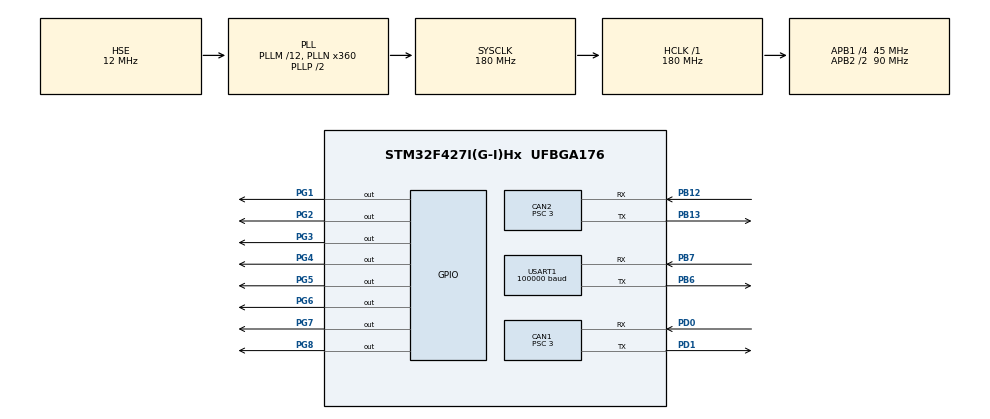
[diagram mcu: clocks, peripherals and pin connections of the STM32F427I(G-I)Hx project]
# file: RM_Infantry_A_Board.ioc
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CAN1.ABOM=ENABLE
CAN1.BS1=CAN_BS1_12TQ
CAN1.BS2=CAN_BS2_2TQ
CAN1.CalculateBaudRate=1000000
CAN1.CalculateTimeBit=1000
CAN1.CalculateTimeQuantum=66.66666666666666
CAN1.NART=ENABLE
CAN1.Prescaler=3
CAN2.BS1=CAN_BS1_12TQ
CAN2.BS2=CAN_BS2_2TQ
CAN2.CalculateBaudRate=1000000
CAN2.CalculateTimeBit=1000
CAN2.CalculateTimeQuantum=66.66666666666666
CAN2.Prescaler=3
Dma.Request0=USART1_RX
Dma.USART1_RX.0.Direction=DMA_PERIPH_TO_MEMORY
Dma.USART1_RX.0.FIFOMode=DMA_FIFOMODE_DISABLE
Dma.USART1_RX.0.Instance=DMA2_Stream2
Dma.USART1_RX.0.MemDataAlignment=DMA_MDATAALIGN_BYTE
Dma.USART1_RX.0.MemInc=DMA_MINC_ENABLE
Dma.USART1_RX.0.Mode=DMA_CIRCULAR
Dma.USART1_RX.0.PeriphDataAlignment=DMA_PDATAALIGN_BYTE
Dma.USART1_RX.0.PeriphInc=DMA_PINC_DISABLE
Dma.USART1_RX.0.Priority=DMA_PRIORITY_LOW
FREERTOS.Queues01=remoteQueue,5,32,1,Dynamic,NULL,NULL
FREERTOS.Tasks01=defaultTask,24,128,StartDefaultTask,Default,NULL,Dynamic,NULL,NULL;Chassis_Task,24,512,StartChassisTask,As external,NULL,Dynamic,NULL,NULL;Detect_Task,8,256,StartDetectTask,As external,NULL,Dynamic,NULL,NULL
Mcu.Family=STM32F4
Mcu.Name=STM32F427I(G-I)Hx
Mcu.Package=UFBGA176
NVIC.CAN1_RX0_IRQn=true\:5\:0\:false\:false\:true\:true\:true\:true\:true
NVIC.CAN1_RX1_IRQn=true\:5\:0\:false\:false\:true\:true\:true\:true\:true
NVIC.CAN2_RX0_IRQn=true\:5\:0\:false\:false\:true\:true\:true\:true\:true
NVIC.CAN2_RX1_IRQn=true\:5\:0\:false\:false\:true\:true\:true\:true\:true
NVIC.DMA2_Stream2_IRQn=true\:5\:0\:false\:false\:true\:true\:false\:true\:true
NVIC.PriorityGroup=NVIC_PRIORITYGROUP_4
NVIC.TIM6_DAC_IRQn=true\:15\:0\:false\:false\:true\:false\:false\:true\:true
NVIC.TimeBase=TIM6_DAC_IRQn
NVIC.TimeBaseIP=TIM6
NVIC.USART1_IRQn=true\:5\:0\:false\:false\:true\:true\:true\:true\:true
PA13.Mode=Serial_Wire
PA13.Signal=SYS_JTMS-SWDIO
PA14.Mode=Serial_Wire
PA14.Signal=SYS_JTCK-SWCLK
PB12.Mode=CAN_Activate
PB12.Signal=CAN2_RX
PB13.Mode=CAN_Activate
PB13.Signal=CAN2_TX
PB6.Mode=Asynchronous
PB6.Signal=USART1_TX
PB7.Mode=Asynchronous
PB7.Signal=USART1_RX
PD0.Mode=CAN_Activate
PD0.Signal=CAN1_RX
PD1.Mode=CAN_Activate
PD1.Signal=CAN1_TX
PG1.GPIO_PuPd=GPIO_PULLDOWN
PG1.PinState=GPIO_PIN_SET
PG1.Signal=GPIO_Output
PG2.GPIO_PuPd=GPIO_PULLDOWN
PG2.PinState=GPIO_PIN_SET
PG2.Signal=GPIO_Output
PG3.GPIO_PuPd=GPIO_PULLDOWN
PG3.PinState=GPIO_PIN_SET
PG3.Signal=GPIO_Output
PG4.GPIO_PuPd=GPIO_PULLDOWN
PG4.PinState=GPIO_PIN_SET
PG4.Signal=GPIO_Output
PG5.GPIO_PuPd=GPIO_PULLDOWN
PG5.PinState=GPIO_PIN_SET
PG5.Signal=GPIO_Output
PG6.GPIO_PuPd=GPIO_PULLDOWN
PG6.PinState=GPIO_PIN_SET
PG6.Signal=GPIO_Output
PG7.GPIO_PuPd=GPIO_PULLDOWN
PG7.PinState=GPIO_PIN_SET
PG7.Signal=GPIO_Output
PG8.GPIO_PuPd=GPIO_PULLDOWN
PG8.PinState=GPIO_PIN_SET
PG8.Signal=GPIO_Output
PH0/OSC_IN.Mode=HSE-External-Oscillator
PH0/OSC_IN.Signal=RCC_OSC_IN
PH1/OSC_OUT.Mode=HSE-External-Oscillator
PH1/OSC_OUT.Signal=RCC_OSC_OUT
ProjectManager.HeapSize=0x200
ProjectManager.StackSize=0x400
ProjectManager.TargetToolchain=MDK-ARM V5.32
RCC.48MHZClocksFreq_Value=90000000
RCC.AHBFreq_Value=180000000
RCC.APB1CLKDivider=RCC_HCLK_DIV4
RCC.APB1Freq_Value=45000000
RCC.APB1TimFreq_Value=90000000
RCC.APB2CLKDivider=RCC_HCLK_DIV2
RCC.APB2Freq_Value=90000000
RCC.APB2TimFreq_Value=180000000
RCC.CortexFreq_Value=180000000
RCC.HCLKFreq_Value=180000000
RCC.HSE_VALUE=12000000
RCC.HSI_VALUE=16000000
RCC.LSE_VALUE=32768
RCC.PLLM=12
RCC.PLLN=360
RCC.PLLSourceVirtual=RCC_PLLSOURCE_HSE
RCC.SYSCLKFreq_VALUE=180000000
RCC.SYSCLKSource=RCC_SYSCLKSOURCE_PLLCLK
RCC.VCOOutputFreq_Value=360000000
USART1.BaudRate=100000
USART1.Parity=PARITY_EVEN
USART1.VirtualMode=VM_ASYNC
USART1.WordLength=WORDLENGTH_9B
VP_FREERTOS_VS_CMSIS_V2.Mode=CMSIS_V2
VP_SYS_VS_tim6.Mode=TIM6
board=custom

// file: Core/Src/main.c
/* USER CODE BEGIN Header */
/**
  ******************************************************************************
  * @file           : main.c
  * @brief          : Main program body
  ******************************************************************************
  * @attention
  *
  * Copyright (c) 2026 STMicroelectronics.
  * All rights reserved.
  *
  * This software is licensed under terms that can be found in the LICENSE file
  * in the root directory of this software component.
  * If no LICENSE file comes with this software, it is provided AS-IS.
  *
  ******************************************************************************
  */
/* USER CODE END Header */
#include "main.h"
#include "cmsis_os.h"
#include "can.h"
#include "dma.h"
#include "usart.h"
#include "gpio.h"

/* USER CODE BEGIN Includes */
#include "bsp_can.h"    // 引入 CAN 滤波器头文件
#include "bsp_usart.h"  // 引入 遥控器串口头文件
#include "board_com.h"
/* USER CODE END Includes */

void SystemClock_Config(void);
void MX_FREERTOS_Init(void);

int main(void)
{

  /* MCU Configuration--------------------------------------------------------*/

  /* Reset of all peripherals, Initializes the Flash interface and the Systick. */
  HAL_Init();

  /* Configure the system clock */
  SystemClock_Config();

  /* Initialize all configured peripherals */
  MX_GPIO_Init();
  MX_DMA_Init();
  MX_CAN1_Init();
  MX_USART1_UART_Init();
  MX_CAN2_Init();
  /* USER CODE BEGIN 2 */
 CAN_Filter_Init();

  RC_Init();
 Board_Com_Init();
  /* USER CODE END 2 */

  /* Init scheduler */
  osKernelInitialize();  /* Call init function for freertos objects (in cmsis_os2.c) */
  MX_FREERTOS_Init();

  /* Start scheduler */
  osKernelStart();

  /* We should never get here as control is now taken by the scheduler */

  /* Infinite loop */
  while (1)
  {

  }
}

void SystemClock_Config(void)
{
  RCC_OscInitTypeDef RCC_OscInitStruct = {0};
  RCC_ClkInitTypeDef RCC_ClkInitStruct = {0};

  /** Configure the main internal regulator output voltage
  */
  __HAL_RCC_PWR_CLK_ENABLE();
  __HAL_PWR_VOLTAGESCALING_CONFIG(PWR_REGULATOR_VOLTAGE_SCALE1);

  /** Initializes the RCC Oscillators according to the specified parameters
  * in the RCC_OscInitTypeDef structure.
  */
  RCC_OscInitStruct.OscillatorType = RCC_OSCILLATORTYPE_HSE;
  RCC_OscInitStruct.HSEState = RCC_HSE_ON;
  RCC_OscInitStruct.PLL.PLLState = RCC_PLL_ON;
  RCC_OscInitStruct.PLL.PLLSource = RCC_PLLSOURCE_HSE;
  RCC_OscInitStruct.PLL.PLLM = 12;
  RCC_OscInitStruct.PLL.PLLN = 360;
  RCC_OscInitStruct.PLL.PLLP = RCC_PLLP_DIV2;
  RCC_OscInitStruct.PLL.PLLQ = 4;
  if (HAL_RCC_OscConfig(&RCC_OscInitStruct) != HAL_OK)
  {
    Error_Handler();
  }

  /** Activate the Over-Drive mode
  */
  if (HAL_PWREx_EnableOverDrive() != HAL_OK)
  {
    Error_Handler();
  }

  /** Initializes the CPU, AHB and APB buses clocks
  */
  RCC_ClkInitStruct.ClockType = RCC_CLOCKTYPE_HCLK|RCC_CLOCKTYPE_SYSCLK
                              |RCC_CLOCKTYPE_PCLK1|RCC_CLOCKTYPE_PCLK2;
  RCC_ClkInitStruct.SYSCLKSource = RCC_SYSCLKSOURCE_PLLCLK;
  RCC_ClkInitStruct.AHBCLKDivider = RCC_SYSCLK_DIV1;
  RCC_ClkInitStruct.APB1CLKDivider = RCC_HCLK_DIV4;
  RCC_ClkInitStruct.APB2CLKDivider = RCC_HCLK_DIV2;

  if (HAL_RCC_ClockConfig(&RCC_ClkInitStruct, FLASH_LATENCY_5) != HAL_OK)
  {
    Error_Handler();
  }
}

void HAL_TIM_PeriodElapsedCallback(TIM_HandleTypeDef *htim)
{
  if (htim->Instance == TIM6)
  {
    HAL_IncTick();
  }
}

void Error_Handler(void)
{
  __disable_irq();
  while (1)
  {
  }
}

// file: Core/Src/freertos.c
/* USER CODE BEGIN Header */
/**
  ******************************************************************************
  * File Name          : freertos.c
  * Description        : Code for freertos applications
  ******************************************************************************
  * @attention
  *
  * Copyright (c) 2026 STMicroelectronics.
  * All rights reserved.
  *
  * This software is licensed under terms that can be found in the LICENSE file
  * in the root directory of this software component.
  * If no LICENSE file comes with this software, it is provided AS-IS.
  *
  ******************************************************************************
  */
/* USER CODE END Header */

#include "FreeRTOS.h"
#include "task.h"
#include "main.h"
#include "cmsis_os.h"

/* USER CODE BEGIN Includes */
#include "remote.h"
#include "board_com.h"
/* USER CODE END Includes */

/* Definitions for defaultTask */
osThreadId_t defaultTaskHandle;
const osThreadAttr_t defaultTask_attributes = {
  .name = "defaultTask",
  .stack_size = 128 * 4,
  .priority = (osPriority_t) osPriorityNormal,
};
/* Definitions for Chassis_Task */
osThreadId_t Chassis_TaskHandle;
const osThreadAttr_t Chassis_Task_attributes = {
  .name = "Chassis_Task",
  .stack_size = 512 * 4,
  .priority = (osPriority_t) osPriorityNormal,
};
/* Definitions for Detect_Task */
osThreadId_t Detect_TaskHandle;
const osThreadAttr_t Detect_Task_attributes = {
  .name = "Detect_Task",
  .stack_size = 256 * 4,
  .priority = (osPriority_t) osPriorityLow,
};
/* Definitions for remoteQueue */
osMessageQueueId_t remoteQueueHandle;
const osMessageQueueAttr_t remoteQueue_attributes = {
  .name = "remoteQueue"
};

void StartDefaultTask(void *argument);
extern void StartChassisTask(void *argument);
extern void StartDetectTask(void *argument);

void MX_FREERTOS_Init(void); /* (MISRA C 2004 rule 8.1) */

void MX_FREERTOS_Init(void) {

  /* Create the queue(s) */
  /* creation of remoteQueue */
  remoteQueueHandle = osMessageQueueNew (5, 32, &remoteQueue_attributes);

  /* Create the thread(s) */
  /* creation of defaultTask */
  defaultTaskHandle = osThreadNew(StartDefaultTask, NULL, &defaultTask_attributes);

  /* creation of Chassis_Task */
  Chassis_TaskHandle = osThreadNew(StartChassisTask, NULL, &Chassis_Task_attributes);

  /* creation of Detect_Task */
  Detect_TaskHandle = osThreadNew(StartDetectTask, NULL, &Detect_Task_attributes);

}

void StartDefaultTask(void *argument)
{
  /* USER CODE BEGIN StartDefaultTask */
	 #include "remote.h"
  #include "board_com.h"
  /* Infinite loop */
  for(;;)
  {

    board_a_tx_data.ch_yaw = rc_ctrl.rc.ch[0];
    board_a_tx_data.ch_pitch = rc_ctrl.rc.ch[1];
    board_a_tx_data.s0 = rc_ctrl.rc.s0;
    board_a_tx_data.s1 = rc_ctrl.rc.s1;
    board_a_tx_data.robot_mode = robot_mode;

    CAN_Send_A_to_C();

    osDelay(5);
  }

  /* USER CODE END StartDefaultTask */
}
